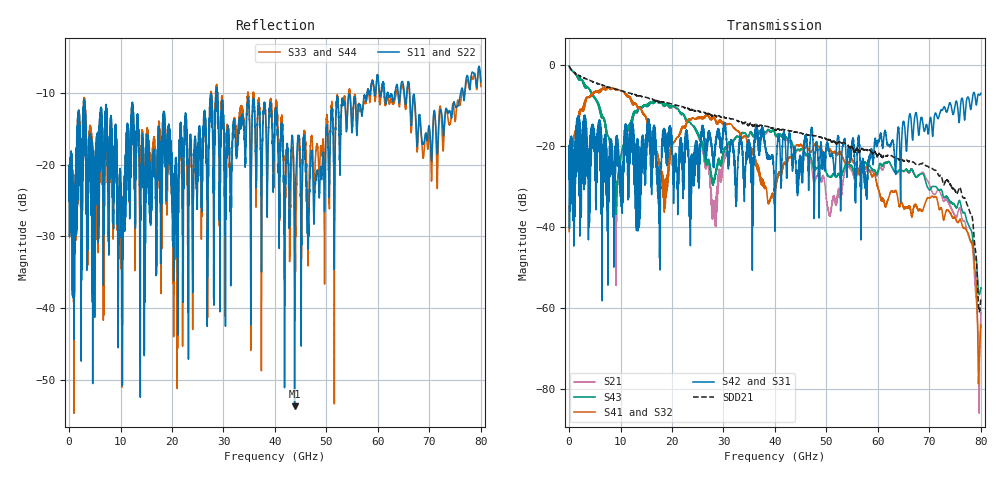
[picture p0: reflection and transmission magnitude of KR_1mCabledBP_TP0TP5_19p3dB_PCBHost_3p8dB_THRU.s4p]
!! Reference: shanbhag_3dj_02_2305.pdf
!! CHANNEL DESCRIPTION: TP0_TP5 KR Channel using 1meter Cabled BP, PCB Host
!! CABLE DESCRIPTION: 1meter 26AWG Cable
!! MODEL STATUS: Developmental
!! PORT DEFINITIONS:
!! Port  1  ----->  Side A  Side B  <-----  Port  2
!! Port  3  ----->  Side A  Side B  <-----  Port  4
# HZ S MA R 50.000000
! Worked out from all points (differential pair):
!   8000 points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, 10 MHz to 80 GHz, reference 50 ohm
!   strongest paths, dB at 10 MHz, 20.01 GHz, 40.01 GHz, 60.01 GHz, 80 GHz:
!     S42: -28.3, -20.4, -34.9, -19.2, -7.1
!     S31: -28.3, -20.4, -34.9, -19.2, -7.1
!     S41: -41.1, -19.9, -32.4, -30.4, -64.1
!     S32: -41.1, -19.9, -32.4, -30.4, -64.1
!     S43: -0.4, -10.2, -17.1, -26.3, -55.0
!     S21: -0.4, -10.3, -17.1, -26.7, -61.0
!   taken as a pair (ports 3,1 in; 4,2 out), SDD21 dB: -0.3, -9.7, -16.0, -22.4, -57.3
!   lowest |S11| = -53.7 dB at 43.81 GHz (marker M1), VSWR 1.00, Z = 50 - j0.204 ohm
!   |S11| at or under -10 dB: start of sweep to 28.55 GHz; 28.84 GHz to 57.91 GHz (29.07 GHz wide, 67 % of centre); 66.17 GHz to 76.06 GHz (9.892 GHz wide, 13.9 % of centre) (the widest 3 of 17)
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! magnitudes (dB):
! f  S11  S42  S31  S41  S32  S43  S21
! 10 MHz  -25.1  -28.3  -28.3  -41.1  -41.1  -0.4  -0.4
! 9.05 GHz  -14.3  -19.0  -19.0  -6.3  -6.3  -31.1  -40.4
! 16.82 GHz  -25.5  -23.1  -23.1  -21.7  -21.7  -9.0  -9.0
! 28.11 GHz  -31.1  -24.8  -24.8  -12.8  -12.8  -29.2  -35.0
! 43.81 GHz  -53.7  -21.6  -21.6  -21.0  -21.0  -21.5  -22.3
! 68.82 GHz  -17.0  -15.3  -15.3  -35.5  -35.5  -27.0  -26.5
! 80 GHz  -8.5  -7.1  -7.1  -64.1  -64.1  -55.0  -61.0
